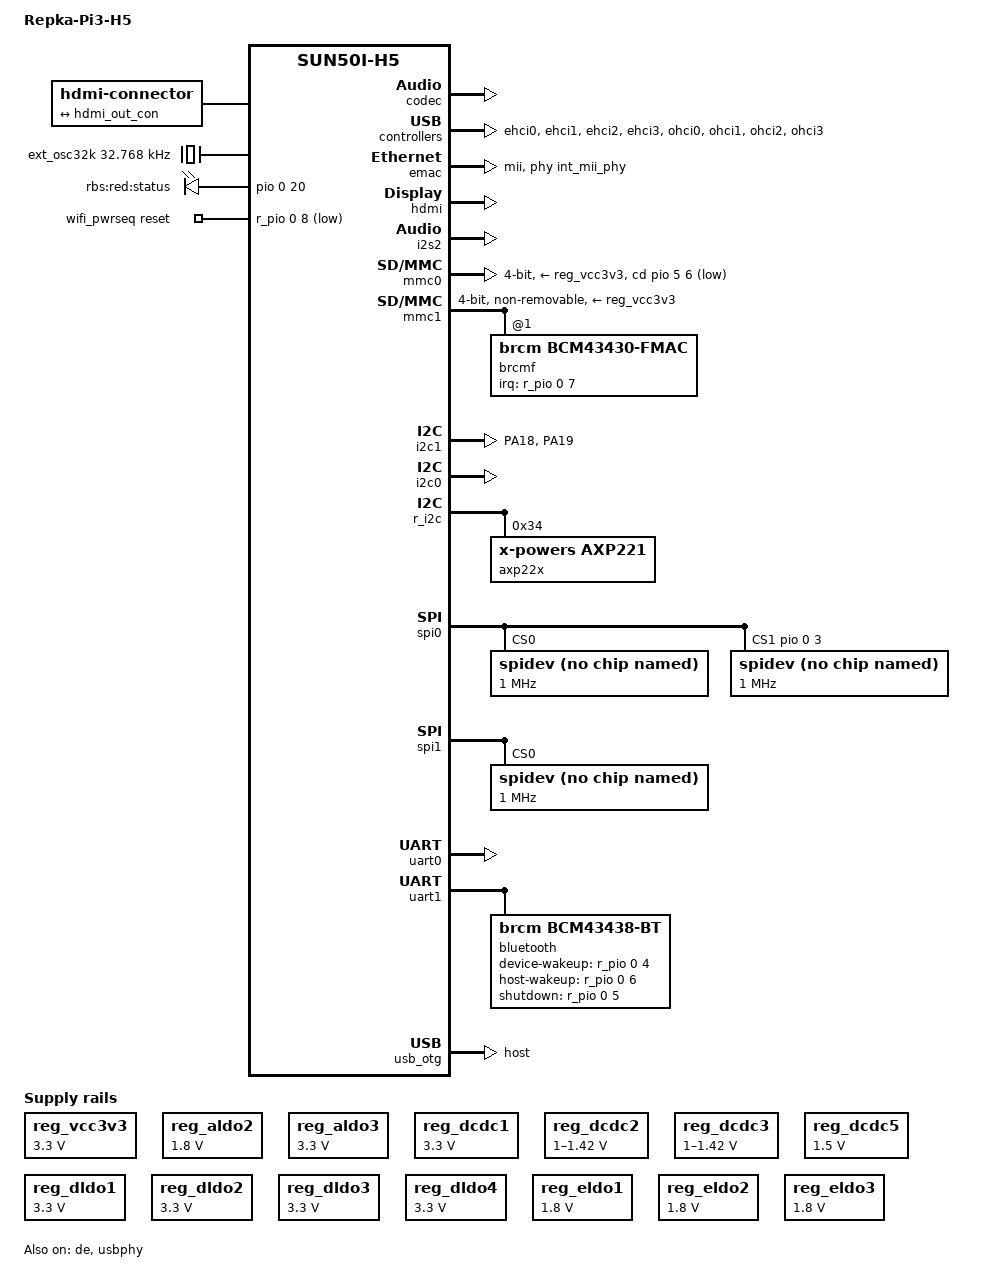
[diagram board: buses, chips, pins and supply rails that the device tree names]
// SPDX-License-Identifier: (GPL-2.0+ OR MIT)
// Copyright (C) 2016 ARM Ltd.

/dts-v1/;
#include "sun50i-h5-repka.dtsi"
#include "sun50i-h5-repka-cpu-opp-1ghz.dtsi"

#include <dt-bindings/gpio/gpio.h>
#include <dt-bindings/input/input.h>
#include <dt-bindings/pinctrl/sun4i-a10.h>

/ {
	model = "Repka-Pi3-H5";
	repka-freq = "1.0 GHz";
	repka-pinout = "4";
	repka-cooling = "0";
	compatible = "rbs,repka-pi3", "allwinner,sun50i-h5";

	reg_vcc3v3: vcc3v3 {
		compatible = "regulator-fixed";
		regulator-name = "vcc3v3";
		regulator-min-microvolt = <3300000>;
		regulator-max-microvolt = <3300000>;
	};

	aliases {
		ethernet0 = &emac;
		serial0 = &uart0;
		serial1 = &uart1;
		spi0 = &spi0;
		spi1 = &spi1;
		i2c1 = &i2c0;
		i2c2 = &i2c1;
		i2c3 = &r_i2c;
	};

	chosen {
		stdout-path = "serial0:115200n8";
	};

	connector {
		compatible = "hdmi-connector";
		type = "a";

		port {
			hdmi_con_in: endpoint {
				remote-endpoint = <&hdmi_out_con>;
			};
		};
	};

	ext_osc32k: ext_osc32k_clk {
		#clock-cells = <0>;
		compatible = "fixed-clock";
		clock-frequency = <32768>;
		clock-output-names = "ext_osc32k";
	};

	leds {
		compatible = "gpio-leds";
		
		status {
			label = "rbs:red:status";
			gpios = <&pio 0 20 GPIO_ACTIVE_HIGH>;
			linux,default-trigger = "heartbeat";
		};
	};

	wifi_pwrseq: wifi_pwrseq {
		compatible = "mmc-pwrseq-simple";
		reset-gpios = <&r_pio 0 8 GPIO_ACTIVE_LOW>; 
		post-power-on-delay-ms = <255>; 
	};

};

&codec {
	allwinner,audio-routing =
		"Line Out", "LINEOUT",
		"MIC1", "Mic",
		"Mic",  "MBIAS";
	status = "okay";
};

&cpu0 {
	cpu-supply = <&reg_dcdc2>;
};

&cpu1 {
	cpu-supply = <&reg_dcdc2>;
};

&cpu2 {
	cpu-supply = <&reg_dcdc2>;
};

&cpu3 {
	cpu-supply = <&reg_dcdc2>;
};

&de {
	status = "okay";
};

&ehci0 {
	status = "okay";
};

&ehci1 {
	status = "okay";
};

&ehci2 {
	status = "okay";
};

&ehci3 {
	status = "okay";
};

&emac {
	phy-handle = <&int_mii_phy>;
	phy-mode = "mii";
	allwinner,leds-active-low;
	status = "okay";
};

&tve {
	status = "disabled";
};

&hdmi {
	status = "okay";
};

&hdmi_out {
	hdmi_out_con: endpoint {
		remote-endpoint = <&hdmi_con_in>;
	};
};

&i2s2 {
	status = "okay";
};

&sound_hdmi {
	status = "okay";
};

&ir {
	pinctrl-names = "default";
	pinctrl-0 = <&r_ir_rx_pin>;
	status = "disabled";
};

&rtc {
	clocks = <&ext_osc32k>;
};

&mmc0 {
	vmmc-supply = <&reg_vcc3v3>;
	bus-width = <4>;
	cd-gpios = <&pio 5 6 GPIO_ACTIVE_LOW>; /* PF6 */
	status = "okay";
};

&mmc1 {
	vmmc-supply = <&reg_vcc3v3>;
	mmc-pwrseq = <&wifi_pwrseq>;
	bus-width = <4>;
	non-removable;
	status = "okay";
	
	brcmf: wifi@1 {
		reg = <1>;
		compatible = "brcm,bcm43430-fmac";
		interrupt-parent = <&r_pio>;
		interrupts = <0 7 IRQ_TYPE_LEVEL_LOW>;	/* PL7 */
		interrupt-names = "host-wake";
	};

};

&mmc2 {
	pinctrl-names = "default";
	pinctrl-0 = <&mmc2_8bit_pins>;
	vmmc-supply = <&reg_vcc3v3>;
	bus-width = <8>;
	non-removable;
	cap-mmc-hw-reset;
	status = "disabled";
};

&ohci0 {
	status = "okay";
};

&ohci1 {
	status = "okay";
};

&ohci2 {
	status = "okay";
};

&ohci3 {
	status = "okay";
};

&i2c1 {
	pinctrl-0 = <&i2c1_pins_up>;
	status = "okay";	/* PA19,PA18 */
};

&i2c0 {
	status = "okay";	/* PA11, PA12 */
};

&r_i2c {
	status = "okay";

	axp22x: pmic@34 {
		compatible = "x-powers,axp221";
		reg = <0x34>;
		interrupt-parent = <&r_intc>;
		interrupts = <0 IRQ_TYPE_LEVEL_LOW>;
	};
};

#include "axp22x.dtsi"

&ac_power_supply {
	status = "okay";
};

&reg_aldo2 {			/* VCC-PG 1.8 */
	regulator-always-on;
	regulator-min-microvolt = <1800000>;
	regulator-max-microvolt = <1800000>;
	regulator-name = "vcc-pg";
};

&reg_aldo3 {
	regulator-always-on;
	regulator-min-microvolt = <3300000>;
	regulator-max-microvolt = <3300000>;
	regulator-name = "vcc-pll-avcc";
};

&reg_dc1sw {
	regulator-name = "vcc-phy";
};

&reg_dcdc1 {
	regulator-always-on;
	regulator-min-microvolt = <3300000>;
	regulator-max-microvolt = <3300000>;
	regulator-name = "vcc-3v3";
};

&reg_dcdc2 {
	regulator-always-on;
	regulator-min-microvolt = <1000000>;
	regulator-max-microvolt = <1420000>; 
	regulator-name = "vdd-cpux-a";
};

&reg_dcdc3 {
	regulator-always-on;
	regulator-min-microvolt = <1000000>;
	regulator-max-microvolt = <1420000>;
	regulator-name = "vdd-cpux-b";
};

/* DCDC3 is polyphased with DCDC2 */

/*
 * The DRAM chips used by rbs-h5 boards are DDR3 -compatibl
 * 
 */
&reg_dcdc5 {
	regulator-always-on;
	regulator-min-microvolt = <1500000>;
	regulator-max-microvolt = <1500000>;
	regulator-name = "vcc-dram";
};

&reg_dldo1 {
	regulator-always-on;
	regulator-min-microvolt = <3300000>;
	regulator-max-microvolt = <3300000>;
	regulator-name = "vcc-wifi-1";
};

&reg_dldo2 {
	regulator-always-on;
	regulator-min-microvolt = <3300000>;
	regulator-max-microvolt = <3300000>;
	regulator-name = "vcc-wifi-2";
};

&reg_dldo3 {
	regulator-always-on;
	regulator-min-microvolt = <3300000>;
	regulator-max-microvolt = <3300000>;
	regulator-name = "vcc-wifi-3";
};

&reg_dldo4 {
	regulator-always-on;
	regulator-min-microvolt = <3300000>;
	regulator-max-microvolt = <3300000>;
	regulator-name = "vcc-wifi-4";
};
			/* VCC-wifi-IO 1.8 */
&reg_eldo1 {
	regulator-always-on;
	regulator-min-microvolt = <1800000>;
	regulator-max-microvolt = <1800000>;
	regulator-name = "vcc-wifi-io-1";
};

&reg_eldo2 {
	regulator-always-on;
	regulator-min-microvolt = <1800000>;
	regulator-max-microvolt = <1800000>;
	regulator-name = "vcc-wifi-io-2";
};

&reg_eldo3 {
	regulator-always-on;
	regulator-min-microvolt = <1800000>;
	regulator-max-microvolt = <1800000>;
	regulator-name = "vcc-wifi-io-3";
};


&reg_rtc_ldo {
	regulator-name = "vcc-rtc";
};

&spi0 {
	pinctrl-names = "default", "default";
	pinctrl-1 = <&spi0_cs1>;
	cs-gpios = <0>, <&pio 0 3 0>; /* PA3 */

	status = "okay";
	spidev@0 {
		compatible = "rohm,dh2228fv"; 
		status = "okay";
		reg = <0>;
		spi-max-frequency = <1000000>;
	};
	spidev@1 {
		compatible = "rohm,dh2228fv"; 
		status = "okay";
		reg = <1>;
		spi-max-frequency = <1000000>;
	};
};

&spi1 {
	pinctrl-names = "default", "default";
        
        status = "okay";
	spidev@0 {
		compatible = "rohm,dh2228fv";
		status = "okay";
		reg = <0>;
		spi-max-frequency = <1000000>;
       };
};

&pio {
		spi0_cs1: spi0_cs1 {		
			pins = "PA3";
			function = "gpio_out";
			output-high;
		};
		
		i2c1_pins_up: i2c1_pins_up {
			pins = "PA18", "PA19";
			function = "i2c1";
			bias-pull-up;
		};
};

&r_pwm {
	status = "disabled";
};

/* to debag serial */
&uart0 {
	pinctrl-names = "default";
	pinctrl-0 = <&uart0_pa_pins>;
	status = "okay";
};

/* to bt-wifi module */
&uart1 {
	pinctrl-names = "default";
	pinctrl-0 = <&uart1_pins>, <&uart1_rts_cts_pins>;
	uart-has-rtscts;
	status = "okay";

	bluetooth {
		compatible = "brcm,bcm43438-bt";
		clocks = <&rtc 1>;
		clock-names = "lpo";
		device-wakeup-gpios = <&r_pio 0 4 GPIO_ACTIVE_HIGH>; /* PL4 AP-WAKE-BT */
		host-wakeup-gpios = <&r_pio 0 6 GPIO_ACTIVE_HIGH>; /* PL6 BT-WAKE-AP */
		shutdown-gpios = <&r_pio 0 5 GPIO_ACTIVE_HIGH>; /* PL5 BT-RST-N */
		max-speed = <1500000>;
	};	

};

&uart2 {
	pinctrl-names = "default";
	pinctrl-0 = <&uart2_pins>, <&uart2_rts_cts_pins>;
	status = "disabled";
};

&r_uart {
	pinctrl-names = "default";
	pinctrl-0 = <&r_uart_pins>;
	status = "disabled";
};

&usb_otg {
	dr_mode = "host";
	status = "okay";
};

&usbphy {
	status = "okay";
};


